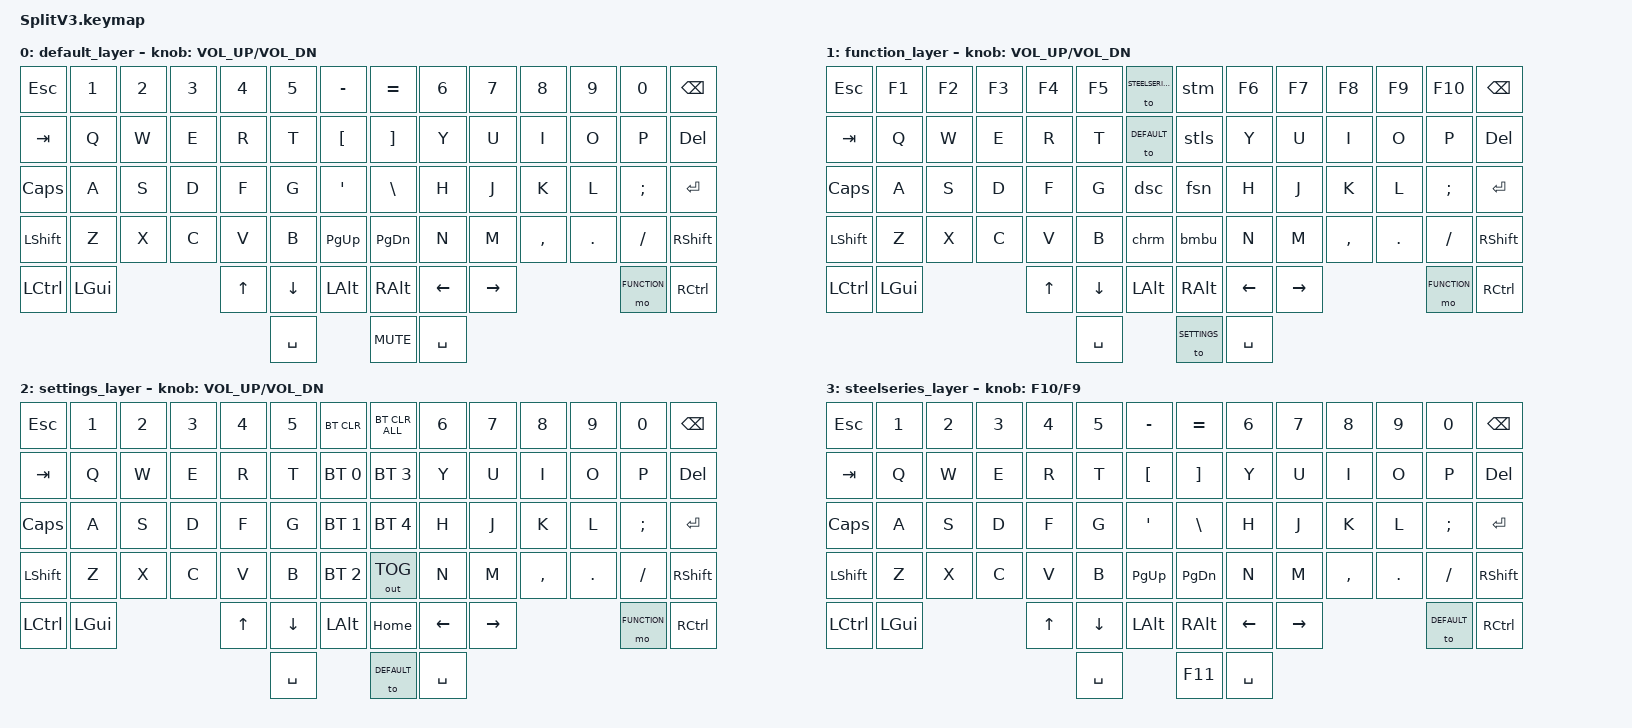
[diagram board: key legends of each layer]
#include <behaviors.dtsi>
#include <dt-bindings/zmk/keys.h>
#include <dt-bindings/zmk/outputs.h>
#include <dt-bindings/zmk/rgb.h>
#include <dt-bindings/zmk/bt.h>
#include <dt-bindings/zmk/ext_power.h>

#define DEFAULT 0
#define FUNCTION 1
#define SETTINGS 2
#define STEELSERIES 3

// -----------------------------------------------------------------------------------------
// |  ESC |  1  |  2  |  3  |  4  |  5  |  -  |   |  +  |  6  |  7   |  8  |  9  |  0  | BSPC |
// |  TAB |  Q  |  W  |  E  |  R  |  T  |LBRKT|   |RBRKT|  Y  |  U   |  I  |  O  |  P  |  DEL |
// | CAPS |  A  |  S  |  D  |  F  |  G  | APOS|   | SLSH|  H  |  J   |  K  |  L  | CLN |  ENT |
// | LSHFT|  Z  |  X  |  C  |  V  |  B  | PGUP|   | PGDN|  N  |  M   |  ,  |  .  |  /  | RSHFT|
// | CTRL | WIN |           |  UP | DWN | ALT |   | ALT | LFT | RGHT |           |  FN | CTRL |
//                                | SPC |               | SPC |   

/ {
        macros {
                dsc: dsc {
                compatible = "zmk,behavior-macro";
                #binding-cells = <0>;
                bindings =  <&macro_press &kp LGUI>,
                                <&macro_release &kp LGUI>,
                                <&macro_tap &kp D &kp I &kp S &kp C &kp O &kp R &kp D>,
                                <&macro_tap &kp RET>;

                };
                chrm: chrm {
                compatible = "zmk,behavior-macro";
                #binding-cells = <0>;
                bindings =  <&macro_press &kp LGUI>,
                                <&macro_release &kp LGUI>,
                                <&macro_tap &kp C &kp H &kp R &kp O &kp M &kp E>,
                                <&macro_tap &kp RET>;
                };
                stm: stm {
                compatible = "zmk,behavior-macro";
                #binding-cells = <0>;
                bindings =  <&macro_press &kp LGUI>,
                                <&macro_release &kp LGUI>,
                                <&macro_tap &kp S &kp T &kp E &kp A &kp M>,
                                <&macro_tap &kp RET>;
                };
                bmbu: bmbu {
                compatible = "zmk,behavior-macro";
                #binding-cells = <0>;
                bindings =  <&macro_press &kp LGUI>,
                                <&macro_release &kp LGUI>,
                                <&macro_tap &kp B &kp A &kp M &kp B &kp U>,
                                <&macro_tap &kp RET>;
                };
                fsn: fsn {
                compatible = "zmk,behavior-macro";
                #binding-cells = <0>;
                bindings =  <&macro_press &kp LGUI>,
                                <&macro_release &kp LGUI>,
                                <&macro_tap &kp F &kp U &kp S &kp I &kp O &kp N>,
                                <&macro_tap &kp RET>;
                };
                stls: stls {
                compatible = "zmk,behavior-macro";
                #binding-cells = <0>;
                bindings =  <&macro_press &kp LGUI>,
                                <&macro_release &kp LGUI>,
                                <&macro_tap &kp S &kp T &kp E &kp E &kp L &kp S &kp E &kp R &kp I &kp E &kp S>,
                                <&macro_tap &kp RET>;
                };
        };

        behaviors {
        hm: homerow_mods {
            compatible = "zmk,behavior-hold-tap";
            #binding-cells = <2>;
            tapping-term-ms = <150>;
            flavor = "tap-preferred";
            require-prior-idle-ms = <125>;
            bindings = <&kp>, <&kp>;
                };
        };
        keymap {
                compatible = "zmk,keymap";

                default_layer {
                sensor-bindings = <&inc_dec_kp C_VOL_UP C_VOL_DN>;
                        bindings = <
   &kp ESC    &kp N1    &kp N2  &kp N3  &kp N4  &kp N5     &kp MINUS       &kp EQUAL    &kp N6     &kp N7     &kp N8     &kp N9   &kp N0        &kp BSPC
   &kp TAB    &kp Q     &kp W   &kp E   &kp R   &kp T      &kp LBKT        &kp RBKT     &kp Y      &kp U      &kp I      &kp O    &kp P         &kp DEL
   &kp CAPS   &kp A     &kp S   &kp D   &kp F   &kp G      &kp APOS        &kp BSLH     &kp H      &kp J      &kp K      &kp L    &kp SEMI      &kp RET
   &kp LSHFT  &kp Z     &kp X   &kp C   &kp V   &kp B      &kp PG_UP       &kp PG_DN    &kp N      &kp M      &kp COMMA  &kp DOT  &kp FSLH      &kp RSHFT
   &kp LCTRL  &kp LGUI                  &kp UP  &kp DOWN   &kp LALT        &kp RALT     &kp LEFT   &kp RIGHT                      &mo FUNCTION  &kp RCTRL
                                                &kp SPACE                  &kp C_MUTE   &kp SPACE
                        >; 
                };

        function_layer {
        sensor-bindings = <&inc_dec_kp C_VOL_UP C_VOL_DN>;
                        bindings = <
   &kp ESC    &kp F1    &kp F2  &kp F3  &kp F4  &kp F5     &to STEELSERIES      &stm           &kp F6     &kp F7     &kp F8     &kp F9   &kp F10         &kp BSPC
   &kp TAB    &kp Q     &kp W   &kp E   &kp R   &kp T      &to DEFAULT          &stls          &kp Y      &kp U      &kp I      &kp O    &kp P           &kp DEL
   &kp CAPS   &kp A     &kp S   &kp D   &kp F   &kp G      &dsc                 &fsn           &kp H      &kp J      &kp K      &kp L    &kp SEMI        &kp RET
   &kp LSHFT  &kp Z     &kp X   &kp C   &kp V   &kp B      &chrm                &bmbu          &kp N      &kp M      &kp COMMA  &kp DOT  &kp FSLH        &kp RSHFT
   &kp LCTRL  &kp LGUI                  &kp UP  &kp DOWN   &kp LALT             &kp RALT       &kp LEFT   &kp RIGHT                      &mo FUNCTION    &kp RCTRL
                                                &kp SPACE                       &to SETTINGS   &kp SPACE

                        >; 
                };

        settings_layer {
        sensor-bindings = <&inc_dec_kp C_VOL_UP C_VOL_DN>;
                        bindings = <
   &kp ESC    &kp N1    &kp N2  &kp N3  &kp N4  &kp N5     &bt BT_CLR      &bt BT_CLR_ALL   &kp N6     &kp N7     &kp N8     &kp N9   &kp N0          &kp BSPC
   &kp TAB    &kp Q     &kp W   &kp E   &kp R   &kp T      &bt BT_SEL 0    &bt BT_SEL 3     &kp Y      &kp U      &kp I      &kp O    &kp P           &kp DEL
   &kp CAPS   &kp A     &kp S   &kp D   &kp F   &kp G      &bt BT_SEL 1    &bt BT_SEL 4     &kp H      &kp J      &kp K      &kp L    &kp SEMI        &kp RET
   &kp LSHFT  &kp Z     &kp X   &kp C   &kp V   &kp B      &bt BT_SEL 2    &out OUT_TOG     &kp N      &kp M      &kp COMMA  &kp DOT  &kp FSLH        &kp RSHFT
   &kp LCTRL  &kp LGUI                  &kp UP  &kp DOWN   &kp LALT        &kp HOME         &kp LEFT   &kp RIGHT                      &mo FUNCTION    &kp RCTRL
                                                &kp SPACE                  &to DEFAULT      &kp SPACE

                        >; 
                };

        steelseries_layer {
        sensor-bindings = <&inc_dec_kp F10 F9>;
                        bindings = <
   &kp ESC    &kp N1    &kp N2  &kp N3  &kp N4  &kp N5     &kp MINUS       &kp EQUAL    &kp N6     &kp N7     &kp N8     &kp N9   &kp N0       &kp BSPC
   &kp TAB    &kp Q     &kp W   &kp E   &kp R   &kp T      &kp LBKT        &kp RBKT     &kp Y      &kp U      &kp I      &kp O    &kp P        &kp DEL
   &kp CAPS   &kp A     &kp S   &kp D   &kp F   &kp G      &kp APOS        &kp BSLH     &kp H      &kp J      &kp K      &kp L    &kp SEMI     &kp RET
   &kp LSHFT  &kp Z     &kp X   &kp C   &kp V   &kp B      &kp PG_UP       &kp PG_DN    &kp N      &kp M      &kp COMMA  &kp DOT  &kp FSLH     &kp RSHFT
   &kp LCTRL  &kp LGUI                  &kp UP  &kp DOWN   &kp LALT        &kp RALT     &kp LEFT   &kp RIGHT                      &to DEFAULT  &kp RCTRL
                                                &kp SPACE                  &kp F11   &kp SPACE
                        >; 
                };
        };
};
